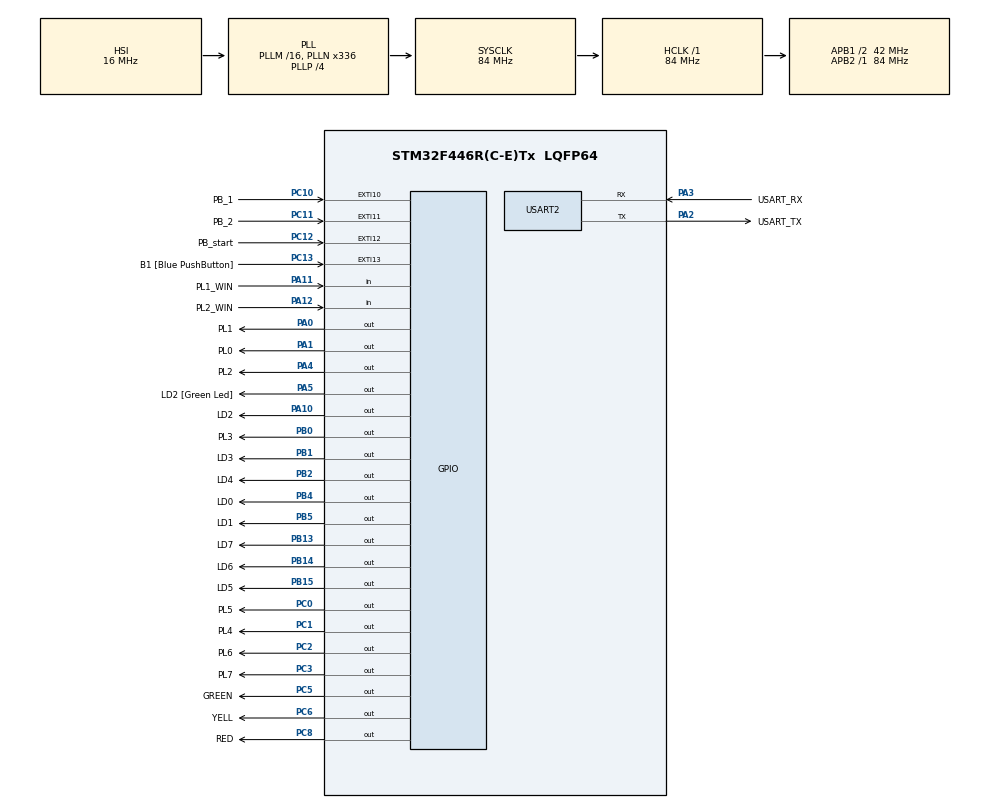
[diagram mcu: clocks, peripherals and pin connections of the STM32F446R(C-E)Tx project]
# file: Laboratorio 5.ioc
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Mcu.Family=STM32F4
Mcu.Name=STM32F446R(C-E)Tx
Mcu.Package=LQFP64
NVIC.EXTI15_10_IRQn=true\:0\:0\:false\:false\:true\:true\:true\:true
NVIC.PriorityGroup=NVIC_PRIORITYGROUP_0
PA0-WKUP.GPIO_Label=PL1
PA0-WKUP.Signal=GPIO_Output
PA1.GPIO_Label=PL0
PA1.Signal=GPIO_Output
PA10.GPIO_Label=LD2
PA10.Signal=GPIO_Output
PA11.GPIO_Label=PL1_WIN
PA11.Signal=GPIO_Input
PA12.GPIO_Label=PL2_WIN
PA12.Signal=GPIO_Input
PA13.GPIO_Label=TMS
PA13.Mode=Serial_Wire
PA13.Signal=SYS_JTMS-SWDIO
PA14.GPIO_Label=TCK
PA14.Mode=Serial_Wire
PA14.Signal=SYS_JTCK-SWCLK
PA2.GPIO_Label=USART_TX
PA2.Mode=Asynchronous
PA2.Signal=USART2_TX
PA3.GPIO_Label=USART_RX
PA3.Mode=Asynchronous
PA3.Signal=USART2_RX
PA4.GPIO_Label=PL2
PA4.Signal=GPIO_Output
PA5.GPIO_Label=LD2 [Green Led]
PA5.Signal=GPIO_Output
PB0.GPIO_Label=PL3
PB0.Signal=GPIO_Output
PB1.GPIO_Label=LD3
PB1.Signal=GPIO_Output
PB13.GPIO_Label=LD7
PB13.Signal=GPIO_Output
PB14.GPIO_Label=LD6
PB14.Signal=GPIO_Output
PB15.GPIO_Label=LD5
PB15.Signal=GPIO_Output
PB2.GPIO_Label=LD4
PB2.Signal=GPIO_Output
PB3.GPIO_Label=SWO
PB3.Signal=SYS_JTDO-SWO
PB4.GPIO_Label=LD0
PB4.Signal=GPIO_Output
PB5.GPIO_Label=LD1
PB5.Signal=GPIO_Output
PC0.GPIO_Label=PL5
PC0.Signal=GPIO_Output
PC1.GPIO_Label=PL4
PC1.Signal=GPIO_Output
PC10.GPIO_Label=PB_1
PC10.GPIO_ModeDefaultEXTI=GPIO_MODE_IT_FALLING
PC10.GPIO_PuPd=GPIO_PULLUP
PC10.Signal=GPXTI10
PC11.GPIO_Label=PB_2
PC11.GPIO_ModeDefaultEXTI=GPIO_MODE_IT_FALLING
PC11.GPIO_PuPd=GPIO_PULLUP
PC11.Signal=GPXTI11
PC12.GPIO_Label=PB_start
PC12.GPIO_ModeDefaultEXTI=GPIO_MODE_IT_FALLING
PC12.GPIO_PuPd=GPIO_PULLUP
PC12.Signal=GPXTI12
PC13.GPIO_Label=B1 [Blue PushButton]
PC13.GPIO_ModeDefaultEXTI=GPIO_MODE_IT_FALLING
PC13.Signal=GPXTI13
PC14-OSC32_IN.Mode=LSE-External-Oscillator
PC14-OSC32_IN.Signal=RCC_OSC32_IN
PC15-OSC32_OUT.Mode=LSE-External-Oscillator
PC15-OSC32_OUT.Signal=RCC_OSC32_OUT
PC2.GPIO_Label=PL6
PC2.Signal=GPIO_Output
PC3.GPIO_Label=PL7
PC3.Signal=GPIO_Output
PC5.GPIO_Label=GREEN
PC5.Signal=GPIO_Output
PC6.GPIO_Label=YELL
PC6.Signal=GPIO_Output
PC8.GPIO_Label=RED
PC8.Signal=GPIO_Output
PH0-OSC_IN.Mode=HSE-External-Oscillator
PH0-OSC_IN.Signal=RCC_OSC_IN
PH1-OSC_OUT.Mode=HSE-External-Oscillator
PH1-OSC_OUT.Signal=RCC_OSC_OUT
ProjectManager.HeapSize=0x200
ProjectManager.StackSize=0x400
ProjectManager.TargetToolchain=STM32CubeIDE
RCC.48MHZClocksFreq_Value=84000000
RCC.AHBFreq_Value=84000000
RCC.APB1CLKDivider=RCC_HCLK_DIV2
RCC.APB1Freq_Value=42000000
RCC.APB1TimFreq_Value=84000000
RCC.APB2Freq_Value=84000000
RCC.APB2TimFreq_Value=84000000
RCC.CortexFreq_Value=84000000
RCC.FLatency-AdvancedSettings=FLASH_LATENCY_2
RCC.HCLKFreq_Value=84000000
RCC.HSE_VALUE=8000000
RCC.HSI_VALUE=16000000
RCC.PLLN=336
RCC.PLLP=RCC_PLLP_DIV4
RCC.SYSCLKFreq_VALUE=84000000
RCC.SYSCLKSource=RCC_SYSCLKSOURCE_PLLCLK
RCC.USBFreq_Value=168000000
RCC.VCOOutputFreq_Value=336000000
USART2.VirtualMode=VM_ASYNC
board=NUCLEO-F446RE

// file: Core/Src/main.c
/* USER CODE BEGIN Header */
/**
  ******************************************************************************
  * @file           : main.c
  * @brief          : Main program body
  ******************************************************************************
  * @attention
  *
  * Copyright (c) 2025 STMicroelectronics.
  * All rights reserved.
  *
  * This software is licensed under terms that can be found in the LICENSE file
  * in the root directory of this software component.
  * If no LICENSE file comes with this software, it is provided AS-IS.
  *
  ******************************************************************************
  */
/* USER CODE END Header */
#include "main.h"

/* USER CODE BEGIN Includes */
#include <stdint.h>
/* USER CODE END Includes */

UART_HandleTypeDef huart2;

/* USER CODE BEGIN PV */

uint8_t flag_game_start = 0; // En cero, el juego no ha empezado. En 1, el juego empezo.
uint8_t flag_winner = 0; // Si esta en 1: gano PL1; Si esta en 2: gano PL2.

//Variables de jugador 1

uint8_t PL1_counter = 0;
uint8_t PL1_round_counter = 0;
uint16_t PL1_counter_exit = 0;

//Variables de jugador 2

uint8_t PL2_counter = 0;
uint8_t PL2_round_counter = 0;
uint16_t PL2_counter_exit = 0;

/* USER CODE END PV */

void SystemClock_Config(void);
static void MX_GPIO_Init(void);
static void MX_USART2_UART_Init(void);

/* USER CODE BEGIN 0 */

//Función para enceder leds del jugador 1
void player1_out(uint8_t contador){

	HAL_GPIO_WritePin(GPIOA,PL0_Pin|PL1_Pin|PL2_Pin , GPIO_PIN_RESET);
	HAL_GPIO_WritePin(GPIOB, PL3_Pin, GPIO_PIN_RESET);
	HAL_GPIO_WritePin(GPIOC, PL4_Pin|PL5_Pin|PL6_Pin|PL7_Pin, GPIO_PIN_RESET);

	//Imprimir el contador
	if (contador & 0b00000001){

		HAL_GPIO_WritePin(GPIOA, PL0_Pin, GPIO_PIN_SET);
	}

	if (contador & 0b00000010){
		HAL_GPIO_WritePin(GPIOA, PL1_Pin, GPIO_PIN_SET);
	}

	if (contador & 0b00000100){
		HAL_GPIO_WritePin(GPIOA, PL2_Pin, GPIO_PIN_SET);
	}

	if (contador & 0b00001000){
		HAL_GPIO_WritePin(GPIOB, PL3_Pin, GPIO_PIN_SET);
	}

	if (contador & 0b00010000){
		HAL_GPIO_WritePin(GPIOC, PL4_Pin, GPIO_PIN_SET);
	}

	if (contador & 0b00100000){
		HAL_GPIO_WritePin(GPIOC, PL5_Pin, GPIO_PIN_SET);
	}

	if (contador & 0b01000000){
		HAL_GPIO_WritePin(GPIOC, PL6_Pin, GPIO_PIN_SET);
	}

	if (contador & 0b10000000){
		HAL_GPIO_WritePin(GPIOC, PL7_Pin, GPIO_PIN_SET);
	}

}

void player2_out (uint8_t contador){

	// Actualizar los pines cada vez que se llame a la función
	HAL_GPIO_WritePin(GPIOA, LD2_Pin, GPIO_PIN_RESET);
	HAL_GPIO_WritePin(GPIOB, LD0_Pin|LD1_Pin|LD3_Pin|LD4_Pin|LD5_Pin|LD6_Pin|LD7_Pin, GPIO_PIN_RESET);

	//Imprimir el contador
	if (contador & 0b00000001){

		HAL_GPIO_WritePin(GPIOB, LD0_Pin, GPIO_PIN_SET);
	}

	if (contador & 0b00000010){
		HAL_GPIO_WritePin(GPIOB, LD1_Pin, GPIO_PIN_SET);
	}

	if (contador & 0b00000100){
		HAL_GPIO_WritePin(GPIOA, LD2_Pin, GPIO_PIN_SET);
	}

	if (contador & 0b00001000){
		HAL_GPIO_WritePin(GPIOB, LD3_Pin, GPIO_PIN_SET);
	}

	if (contador & 0b00010000){
		HAL_GPIO_WritePin(GPIOB, LD4_Pin, GPIO_PIN_SET);
	}

	if (contador & 0b00100000){
		HAL_GPIO_WritePin(GPIOB, LD5_Pin, GPIO_PIN_SET);
	}

	if (contador & 0b01000000){
		HAL_GPIO_WritePin(GPIOB, LD6_Pin, GPIO_PIN_SET);
	}

	if (contador & 0b10000000){
		HAL_GPIO_WritePin(GPIOB, LD7_Pin, GPIO_PIN_SET);
	}

}

void semaforo_out(void){

	//Mostrar secuencia de semáforo
	HAL_Delay(3000);
	HAL_GPIO_WritePin(GPIOC, RED_Pin, GPIO_PIN_SET);
	HAL_Delay(2000);
	HAL_GPIO_WritePin(GPIOC, YELL_Pin, GPIO_PIN_SET);
	HAL_Delay(2000);
	HAL_GPIO_WritePin(GPIOC, GREEN_Pin, GPIO_PIN_SET);

}

uint8_t Potencia_base_2(uint8_t exponente){

	uint8_t resultado = 1;

	if (exponente == 0){
		return 1;
	}

	for (uint8_t i = 0; 1 < exponente; i++){

		resultado *= 2;
	}

	return resultado;

}

/* USER CODE END 0 */

int main(void)
{

  /* MCU Configuration--------------------------------------------------------*/

  /* Reset of all peripherals, Initializes the Flash interface and the Systick. */
  HAL_Init();

  /* Configure the system clock */
  SystemClock_Config();

  /* Initialize all configured peripherals */
  MX_GPIO_Init();
  MX_USART2_UART_Init();

  /* Infinite loop */
  while (1)
  {

  }
}

void SystemClock_Config(void)
{
  RCC_OscInitTypeDef RCC_OscInitStruct = {0};
  RCC_ClkInitTypeDef RCC_ClkInitStruct = {0};

  /** Configure the main internal regulator output voltage
  */
  __HAL_RCC_PWR_CLK_ENABLE();
  __HAL_PWR_VOLTAGESCALING_CONFIG(PWR_REGULATOR_VOLTAGE_SCALE3);

  /** Initializes the RCC Oscillators according to the specified parameters
  * in the RCC_OscInitTypeDef structure.
  */
  RCC_OscInitStruct.OscillatorType = RCC_OSCILLATORTYPE_HSI;
  RCC_OscInitStruct.HSIState = RCC_HSI_ON;
  RCC_OscInitStruct.HSICalibrationValue = RCC_HSICALIBRATION_DEFAULT;
  RCC_OscInitStruct.PLL.PLLState = RCC_PLL_ON;
  RCC_OscInitStruct.PLL.PLLSource = RCC_PLLSOURCE_HSI;
  RCC_OscInitStruct.PLL.PLLM = 16;
  RCC_OscInitStruct.PLL.PLLN = 336;
  RCC_OscInitStruct.PLL.PLLP = RCC_PLLP_DIV4;
  RCC_OscInitStruct.PLL.PLLQ = 2;
  RCC_OscInitStruct.PLL.PLLR = 2;
  if (HAL_RCC_OscConfig(&RCC_OscInitStruct) != HAL_OK)
  {
    Error_Handler();
  }

  /** Initializes the CPU, AHB and APB buses clocks
  */
  RCC_ClkInitStruct.ClockType = RCC_CLOCKTYPE_HCLK|RCC_CLOCKTYPE_SYSCLK
                              |RCC_CLOCKTYPE_PCLK1|RCC_CLOCKTYPE_PCLK2;
  RCC_ClkInitStruct.SYSCLKSource = RCC_SYSCLKSOURCE_PLLCLK;
  RCC_ClkInitStruct.AHBCLKDivider = RCC_SYSCLK_DIV1;
  RCC_ClkInitStruct.APB1CLKDivider = RCC_HCLK_DIV2;
  RCC_ClkInitStruct.APB2CLKDivider = RCC_HCLK_DIV1;

  if (HAL_RCC_ClockConfig(&RCC_ClkInitStruct, FLASH_LATENCY_2) != HAL_OK)
  {
    Error_Handler();
  }
}

static void MX_USART2_UART_Init(void)
{

  huart2.Instance = USART2;
  huart2.Init.BaudRate = 115200;
  huart2.Init.WordLength = UART_WORDLENGTH_8B;
  huart2.Init.StopBits = UART_STOPBITS_1;
  huart2.Init.Parity = UART_PARITY_NONE;
  huart2.Init.Mode = UART_MODE_TX_RX;
  huart2.Init.HwFlowCtl = UART_HWCONTROL_NONE;
  huart2.Init.OverSampling = UART_OVERSAMPLING_16;
  if (HAL_UART_Init(&huart2) != HAL_OK)
  {
    Error_Handler();
  }

}

static void MX_GPIO_Init(void)
{
  GPIO_InitTypeDef GPIO_InitStruct = {0};

  /* GPIO Ports Clock Enable */
  __HAL_RCC_GPIOC_CLK_ENABLE();
  __HAL_RCC_GPIOH_CLK_ENABLE();
  __HAL_RCC_GPIOA_CLK_ENABLE();
  __HAL_RCC_GPIOB_CLK_ENABLE();

  /*Configure GPIO pin Output Level */
  HAL_GPIO_WritePin(GPIOC, PL5_Pin|PL4_Pin|PL6_Pin|PL7_Pin
                          |GREEN_Pin|YELL_Pin|RED_Pin, GPIO_PIN_RESET);

  /*Configure GPIO pin Output Level */
  HAL_GPIO_WritePin(GPIOA, PL1_Pin|PL0_Pin|PL2_Pin|LD2_Pin
                          |LD2A10_Pin, GPIO_PIN_RESET);

  /*Configure GPIO pin Output Level */
  HAL_GPIO_WritePin(GPIOB, PL3_Pin|LD3_Pin|LD4_Pin|LD7_Pin
                          |LD6_Pin|LD5_Pin|LD0_Pin|LD1_Pin, GPIO_PIN_RESET);

  /*Configure GPIO pin : B1_Pin */
  GPIO_InitStruct.Pin = B1_Pin;
  GPIO_InitStruct.Mode = GPIO_MODE_IT_FALLING;
  GPIO_InitStruct.Pull = GPIO_NOPULL;
  HAL_GPIO_Init(B1_GPIO_Port, &GPIO_InitStruct);

  /*Configure GPIO pins : PL5_Pin PL4_Pin PL6_Pin PL7_Pin
                           GREEN_Pin YELL_Pin RED_Pin */
  GPIO_InitStruct.Pin = PL5_Pin|PL4_Pin|PL6_Pin|PL7_Pin
                          |GREEN_Pin|YELL_Pin|RED_Pin;
  GPIO_InitStruct.Mode = GPIO_MODE_OUTPUT_PP;
  GPIO_InitStruct.Pull = GPIO_NOPULL;
  GPIO_InitStruct.Speed = GPIO_SPEED_FREQ_LOW;
  HAL_GPIO_Init(GPIOC, &GPIO_InitStruct);

  /*Configure GPIO pins : PL1_Pin PL0_Pin PL2_Pin LD2_Pin
                           LD2A10_Pin */
  GPIO_InitStruct.Pin = PL1_Pin|PL0_Pin|PL2_Pin|LD2_Pin
                          |LD2A10_Pin;
  GPIO_InitStruct.Mode = GPIO_MODE_OUTPUT_PP;
  GPIO_InitStruct.Pull = GPIO_NOPULL;
  GPIO_InitStruct.Speed = GPIO_SPEED_FREQ_LOW;
  HAL_GPIO_Init(GPIOA, &GPIO_InitStruct);

  /*Configure GPIO pins : PL3_Pin LD3_Pin LD4_Pin LD7_Pin
                           LD6_Pin LD5_Pin LD0_Pin LD1_Pin */
  GPIO_InitStruct.Pin = PL3_Pin|LD3_Pin|LD4_Pin|LD7_Pin
                          |LD6_Pin|LD5_Pin|LD0_Pin|LD1_Pin;
  GPIO_InitStruct.Mode = GPIO_MODE_OUTPUT_PP;
  GPIO_InitStruct.Pull = GPIO_NOPULL;
  GPIO_InitStruct.Speed = GPIO_SPEED_FREQ_LOW;
  HAL_GPIO_Init(GPIOB, &GPIO_InitStruct);

  /*Configure GPIO pins : PL1_WIN_Pin PL2_WIN_Pin */
  GPIO_InitStruct.Pin = PL1_WIN_Pin|PL2_WIN_Pin;
  GPIO_InitStruct.Mode = GPIO_MODE_INPUT;
  GPIO_InitStruct.Pull = GPIO_NOPULL;
  HAL_GPIO_Init(GPIOA, &GPIO_InitStruct);

  /*Configure GPIO pins : PB_1_Pin PB_2_Pin PB_start_Pin */
  GPIO_InitStruct.Pin = PB_1_Pin|PB_2_Pin|PB_start_Pin;
  GPIO_InitStruct.Mode = GPIO_MODE_IT_FALLING;
  GPIO_InitStruct.Pull = GPIO_PULLUP;
  HAL_GPIO_Init(GPIOC, &GPIO_InitStruct);

  /* EXTI interrupt init*/
  HAL_NVIC_SetPriority(EXTI15_10_IRQn, 0, 0);
  HAL_NVIC_EnableIRQ(EXTI15_10_IRQn);

}

/* USER CODE BEGIN 4 */

	void HAL_GPIO_EXIT_Callback(uint16_t pin){

	if(flag_game_start == 0){

		if(HAL_GPIO_ReadPin(GPIOC, PB_start_Pin) == GPIO_PIN_RESET){

			//Si se presiona el boton de start
			flag_game_start = 1; //Bandera indica que el juego empezó

			//Iniciar secuencia de start
			semaforo_out(); //El programa se mantiene en aqui aproximadamente 7 segundos
		}
	}

	if(flag_game_start == 1){

		//Con la bandera en 1, el juego puede empezar.

		if(HAL_GPIO_ReadPin(GPIOC, PB_1_Pin) == GPIO_PIN_RESET){

			//Si se presiona el boton de Player1
			PL1_counter++; // Cada que se presione el botón, incrementar contador

			if (PL1_counter > 8){

				PL1_counter = 0; // Cada 8 veces, resetear el conteo
				PL1_round_counter++; //e incrementar el numero de vueltas

				if(PL1_round_counter == 3){
					//Cuando se alcanzen las 3 vueltas
					flag_winner = 1; // Gano el jugador 1
				}
			}

			//Actualizar contador de salida
			PL1_counter_exit = Potencia_base_2(PL1_counter); // Aplicar el contador octal

		}

		if(HAL_GPIO_ReadPin(GPIOC, PB_2_Pin) == GPIO_PIN_RESET){

			//Si se presiona el boton de Player2
			PL2_counter++; // Cada que se presione el botón, incrementar contador

			if (PL2_counter > 8){

				PL2_counter = 0; // Cada 8 veces, resetear el conteo
				PL2_round_counter++; //e incrementar el numero de vueltas

				if(PL2_round_counter == 3){
					//Cuando se alcanzen las 3 vueltas
					flag_winner = 2;
				}

			}

			//Actualizar contador de salida

			PL2_counter_exit = Potencia_base_2(PL2_counter);

		}
	}

	}

/* USER CODE END 4 */

void Error_Handler(void)
{
  __disable_irq();
  while (1)
  {
  }
}
